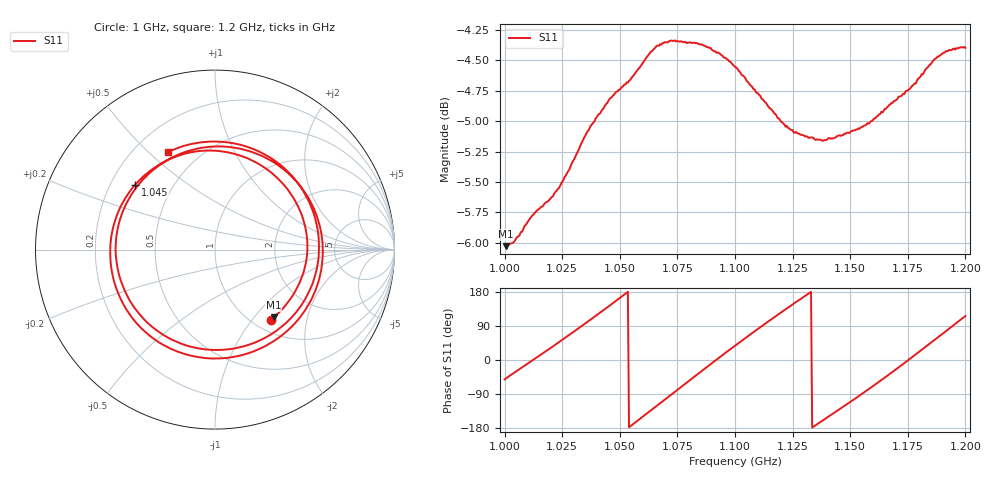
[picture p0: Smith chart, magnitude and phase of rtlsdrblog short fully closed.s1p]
! NanoVNA-App
! Date: 2026-05-22 22:09:54
! Start: 1GHz Stop: 1.2GHz Points: 401
! S-Parameter data: F S11
# Hz S RI R 50
!  Frequency  S11_Real  S11_Imag
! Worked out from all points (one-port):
!   401 points, 1 GHz to 1.2 GHz, reference 50 ohm
!   lowest |S11| = -6.0 dB at 1 GHz (marker M1), VSWR 3.00, Z = 63.3 - j63.5 ohm
!   |S11| at or under -10 dB: nowhere
!   S11 on the Smith chart (normalised r, x): 1 GHz: 1.20, -1.25; 1.045 GHz: 0.30, +0.33; 1.2 GHz: 0.34, +0.57
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1e9  0.314 -0.3894
1.0005e9  0.3285 -0.3765
1.013e9  0.5148 0.027
1.025e9  0.3185 0.425
1.035e9  -0.0624 0.5511
1.045e9  -0.4449 0.3616
1.05e9  -0.5555 0.1651
1.0555e9  -0.5787 -0.0965
1.061e9  -0.4853 -0.3463
1.0685e9  -0.2013 -0.5711
1.075e9  0.1172 -0.5953
1.081e9  0.3856 -0.467
1.088e9  0.5744 -0.1841
1.094e9  0.5892 0.1067
1.1e9  0.4688 0.3617
1.106e9  0.2501 0.5266
1.112e9  -0.00835 0.5741
1.125e9  -0.4644 0.3088
1.137e9  -0.5314 -0.1518
1.15e9  -0.196 -0.5209
1.156e9  0.0436 -0.5583
1.162e9  0.2855 -0.4878
1.169e9  0.5036 -0.2741
1.175e9  0.5788 -0.0121
1.182e9  0.5026 0.3072
1.189e9  0.2604 0.539
1.1945e9  -0.00191 0.6022
1.2e9  -0.2645 0.5416
